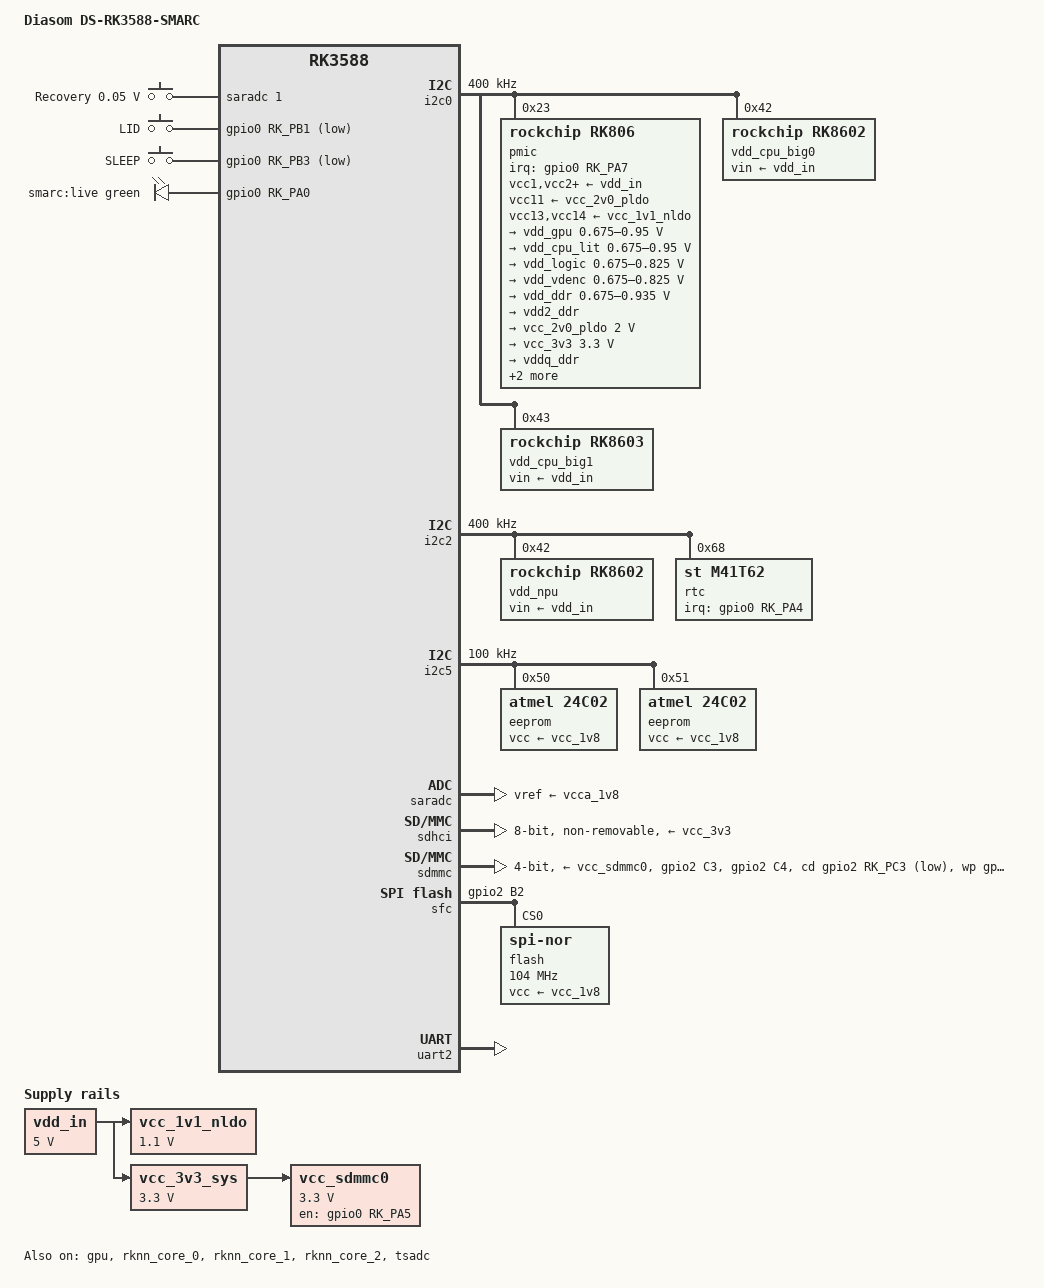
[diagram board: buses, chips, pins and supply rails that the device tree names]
/* SPDX-License-Identifier: GPL-2.0+ */
/* SPDX-FileCopyrightText: Alexander Shiyan <shc_work@mail.ru> */

/dts-v1/;

#include <arm64/rockchip/rk8xx.h>
#include <arm64/rockchip/rk3588j.dtsi>
#include <dt-bindings/gpio/gpio.h>
#include <dt-bindings/input/input.h>
#include <dt-bindings/leds/common.h>

#include "rk3588.dtsi"

/ {
	model = "Diasom DS-RK3588-SMARC";
	compatible = "diasom,ds-rk3588-smarc",
		     "rockchip,rk3588";
	chassis-type = "embedded";

	aliases {
		mmc0 = &sdhci;
		rtc0 = &rtc;
	};

	chosen: chosen {
		stdout-path = "serial2:1500000n8";

		environment-emmc {
			compatible = "barebox,environment";
			device-path = &sdhci, "partname:env";
			status = "disabled";
		};
	};

	adc-keys-1 {
		compatible = "adc-keys";
		io-channels = <&saradc 1>;
		io-channel-names = "buttons";
		keyup-threshold-microvolt = <1750000>;
		poll-interval = <100>;

		recovery {
			label = "Recovery";
			linux,code = <KEY_VENDOR>;
			press-threshold-microvolt = <50000>;
		};
	};

	gpio-keys {
		pinctrl-names = "default";
		pinctrl-0 = <&keys_pins>;
		compatible = "gpio-keys";

		lid {
			label = "LID";
			linux,code = <SW_LID>;
			linux,input-type = <EV_SW>;
			gpios = <&gpio0 RK_PB1 GPIO_ACTIVE_LOW>;
		};

		sleep {
			label = "SLEEP";
			linux,code = <KEY_SLEEP>;
			linux,input-type = <EV_KEY>;
			gpios = <&gpio0 RK_PB3 GPIO_ACTIVE_LOW>;
		};
	};

	leds: leds {
		compatible = "gpio-leds";
		pinctrl-names = "default";
		pinctrl-0 = <&leds_smarc_pins>;

		led-live {
			label = "smarc:live";
			gpios = <&gpio0 RK_PA0 GPIO_ACTIVE_HIGH>;
			function = LED_FUNCTION_HEARTBEAT;
			color = <LED_COLOR_ID_GREEN>;
			linux,default-trigger = LED_FUNCTION_HEARTBEAT;
			default-state = "off";
			panic-indicator;
		};
	};

	vcc_1v1_nldo: vcc1v1-nldo-regulator {
		compatible = "regulator-fixed";
		regulator-name = "vcc_1v1_nldo";
		regulator-always-on;
		regulator-boot-on;
		regulator-min-microvolt = <1100000>;
		regulator-max-microvolt = <1100000>;
		vin-supply = <&vdd_in>;
	};

	vcc_3v3_sys: vcc-3v3-sys-regulator {
		compatible = "regulator-fixed";
		regulator-name = "vcc_3v3_sys";
		regulator-always-on;
		regulator-boot-on;
		regulator-min-microvolt = <3300000>;
		regulator-max-microvolt = <3300000>;
		vin-supply = <&vdd_in>;
	};

	vcc_sdmmc0: vcc-sdmmc0-regulator {
		pinctrl-names = "default";
		pinctrl-0 = <&sdmmc0_vcc_pins>;
		compatible = "regulator-fixed";
		enable-active-high;
		gpio = <&gpio0 RK_PA5 GPIO_ACTIVE_HIGH>;
		regulator-name = "vcc_sdmmc0";
		regulator-boot-on;
		regulator-min-microvolt = <3300000>;
		regulator-max-microvolt = <3300000>;
		startup-delay-us = <20000>;
		vin-supply = <&vcc_3v3_sys>;
	};

	vdd_in: vcc4v0-sys-regulator {
		compatible = "regulator-fixed";
		regulator-name = "vdd_in";
		regulator-always-on;
		regulator-boot-on;
		regulator-min-microvolt = <5000000>;
		regulator-max-microvolt = <5000000>;
	};
};

&cpu_b0 {
	cpu-supply = <&vdd_cpu_big0>;
};

&cpu_b1 {
	cpu-supply = <&vdd_cpu_big0>;
};

&cpu_b2 {
	cpu-supply = <&vdd_cpu_big1>;
};

&cpu_b3 {
	cpu-supply = <&vdd_cpu_big1>;
};

&cpu_l0 {
	cpu-supply = <&vdd_cpu_lit>;
};

&cpu_l1 {
	cpu-supply = <&vdd_cpu_lit>;
};

&cpu_l2 {
	cpu-supply = <&vdd_cpu_lit>;
};

&cpu_l3 {
	cpu-supply = <&vdd_cpu_lit>;
};

&gpu {
	mali-supply = <&vdd_gpu>;
	sram-supply = <&vdd_gpu>;
	status = "okay";
};

&gpu_opp_table {
	/* Fix wrong frequency 800 MHz => 850 MHz */
	/delete-node/ opp-850000000;

	opp-850000000 {
		opp-hz = /bits/ 64 <850000000>;
		opp-microvolt = <787500 787500 850000>;
	};
};

&i2c0 {
	pinctrl-0 = <&i2c0m2_xfer>;
	clock-frequency = <400000>;
	status = "okay";

	pmic@23 {
		compatible = "rockchip,rk806";
		reg = <0x23>;
		interrupt-parent = <&gpio0>;
		interrupts = <RK_PA7 IRQ_TYPE_LEVEL_LOW>;
		pinctrl-names = "default";
		pinctrl-0 = <
			&pmic_pins &rk806_dvs1_null
			&rk806_dvs2_null &rk806_dvs3_null
		>;
		system-power-controller;
		rockchip,reset-mode = <RK806_RESTART>;

		vcc1-supply = <&vdd_in>;
		vcc2-supply = <&vdd_in>;
		vcc3-supply = <&vdd_in>;
		vcc4-supply = <&vdd_in>;
		vcc5-supply = <&vdd_in>;
		vcc6-supply = <&vdd_in>;
		vcc7-supply = <&vdd_in>;
		vcc8-supply = <&vdd_in>;
		vcc9-supply = <&vdd_in>;
		vcc10-supply = <&vdd_in>;
		vcc11-supply = <&vcc_2v0_pldo>;
		vcc12-supply = <&vdd_in>;
		vcc13-supply = <&vcc_1v1_nldo>;
		vcc14-supply = <&vcc_1v1_nldo>;
		vcca-supply = <&vdd_in>;

		gpio-controller;
		#gpio-cells = <2>;

		rk806_dvs1_null: dvs1-null-pins {
			pins = "gpio_pwrctrl1";
			function = "pin_fun0";
		};

		rk806_dvs2_null: dvs2-null-pins {
			pins = "gpio_pwrctrl2";
			function = "pin_fun0";
		};

		rk806_dvs3_null: dvs3-null-pins {
			pins = "gpio_pwrctrl3";
			function = "pin_fun0";
		};

		regulators {
			vdd_gpu: dcdc-reg1 {
				regulator-name = "vdd_gpu";
				regulator-boot-on;
				regulator-min-microvolt = <675000>;
				regulator-max-microvolt = <950000>;
				regulator-enable-ramp-delay = <400>;
				regulator-ramp-delay = <12500>;

				regulator-state-mem {
					regulator-off-in-suspend;
				};
			};

			vdd_cpu_lit: dcdc-reg2 {
				regulator-name = "vdd_cpu_lit";
				regulator-min-microvolt = <675000>;
				regulator-max-microvolt = <950000>;
				regulator-ramp-delay = <12500>;

				regulator-state-mem {
					regulator-off-in-suspend;
				};
			};

			dcdc-reg3 {
				regulator-name = "vdd_logic";
				regulator-always-on;
				regulator-boot-on;
				regulator-min-microvolt = <675000>;
				regulator-max-microvolt = <825000>;
				regulator-ramp-delay = <12500>;

				regulator-state-mem {
					regulator-off-in-suspend;
					regulator-suspend-microvolt = <750000>;
				};
			};

			dcdc-reg4 {
				regulator-name = "vdd_vdenc";
				regulator-always-on;
				regulator-boot-on;
				regulator-min-microvolt = <675000>;
				regulator-max-microvolt = <825000>;
				regulator-ramp-delay = <12500>;

				regulator-state-mem {
					regulator-off-in-suspend;
				};
			};

			dcdc-reg5 {
				regulator-name = "vdd_ddr";
				regulator-always-on;
				regulator-boot-on;
				regulator-min-microvolt = <675000>;
				regulator-max-microvolt = <935000>;
				regulator-ramp-delay = <12500>;

				regulator-state-mem {
					regulator-off-in-suspend;
					regulator-suspend-microvolt = <850000>;
				};
			};

			dcdc-reg6 {
				regulator-name = "vdd2_ddr";
				regulator-always-on;
				regulator-boot-on;

				regulator-state-mem {
					regulator-on-in-suspend;
				};
			};

			vcc_2v0_pldo: dcdc-reg7 {
				regulator-name = "vdd_2v0_pldo";
				regulator-min-microvolt = <2000000>;
				regulator-max-microvolt = <2000000>;
				regulator-ramp-delay = <12500>;

				regulator-state-mem {
					regulator-on-in-suspend;
					regulator-suspend-microvolt = <2000000>;
				};
			};

			vcc_3v3: dcdc-reg8 {
				regulator-name = "vcc_3v3";
				regulator-always-on;
				regulator-boot-on;
				regulator-min-microvolt = <3300000>;
				regulator-max-microvolt = <3300000>;

				regulator-state-mem {
					regulator-on-in-suspend;
					regulator-suspend-microvolt = <3300000>;
				};
			};

			dcdc-reg9 {
				regulator-name = "vddq_ddr";
				regulator-always-on;
				regulator-boot-on;

				regulator-state-mem {
					regulator-off-in-suspend;
				};
			};

			vcc_1v8: dcdc-reg10 {
				regulator-name = "vcc_1v8";
				regulator-always-on;
				regulator-boot-on;
				regulator-min-microvolt = <1800000>;
				regulator-max-microvolt = <1800000>;

				regulator-state-mem {
					regulator-on-in-suspend;
					regulator-suspend-microvolt = <1800000>;
				};
			};

			vcca_1v8: pldo-reg1 {
				regulator-name = "vcca_1v8";
				regulator-always-on;
				regulator-boot-on;
				regulator-min-microvolt = <1800000>;
				regulator-max-microvolt = <1800000>;

				regulator-state-mem {
					regulator-off-in-suspend;
				};
			};

			vcca_1v8_image: pldo-reg2 {
				regulator-name = "vcca_1v8_image";
				regulator-always-on;
				regulator-boot-on;
				regulator-min-microvolt = <1800000>;
				regulator-max-microvolt = <1800000>;

				regulator-state-mem {
					regulator-off-in-suspend;
					regulator-suspend-microvolt = <1800000>;
				};
			};

			vcca_1v2_image: pldo-reg3 {
				regulator-name = "vcca_1v2_image";
				regulator-always-on;
				regulator-boot-on;
				regulator-min-microvolt = <1200000>;
				regulator-max-microvolt = <1200000>;

				regulator-state-mem {
					regulator-off-in-suspend;
				};
			};

			vcca_3v3: pldo-reg4 {
				regulator-name = "vcca_3v3";
				regulator-always-on;
				regulator-boot-on;
				regulator-min-microvolt = <3300000>;
				regulator-max-microvolt = <3300000>;
				regulator-ramp-delay = <12500>;

				regulator-state-mem {
					regulator-off-in-suspend;
				};
			};

			vccio_sd: pldo-reg5 {
				regulator-name = "vccio_sd";
				regulator-always-on;
				regulator-boot-on;
				regulator-min-microvolt = <1800000>;
				regulator-max-microvolt = <3300000>;
				regulator-ramp-delay = <12500>;

				regulator-state-mem {
					regulator-off-in-suspend;
				};
			};

			pldo-reg6 {
				regulator-name = "vcca_1v8_pldo6";
				regulator-always-on;
				regulator-boot-on;
				regulator-min-microvolt = <1800000>;
				regulator-max-microvolt = <1800000>;

				regulator-state-mem {
					regulator-on-in-suspend;
					regulator-suspend-microvolt = <1800000>;
				};
			};

			vdda_0v75_pmu: nldo-reg1 {
				regulator-name = "vdda_0v75_pmu";
				regulator-always-on;
				regulator-boot-on;
				regulator-min-microvolt = <750000>;
				regulator-max-microvolt = <750000>;

				regulator-state-mem {
					regulator-on-in-suspend;
					regulator-suspend-microvolt = <750000>;
				};
			};

			vdda_ddr_pll: nldo-reg2 {
				regulator-name = "vdda_ddr_pll";
				regulator-always-on;
				regulator-boot-on;
				regulator-min-microvolt = <675000>;
				regulator-max-microvolt = <892500>;

				regulator-state-mem {
					regulator-off-in-suspend;
					regulator-suspend-microvolt = <850000>;
				};
			};

			vdda_0v75_image: nldo-reg3 {
				regulator-name = "vdda_0v75_image";
				regulator-always-on;
				regulator-boot-on;
				regulator-min-microvolt = <750000>;
				regulator-max-microvolt = <750000>;

				regulator-state-mem {
					regulator-off-in-suspend;
				};
			};

			vdda_0v85: nldo-reg4 {
				regulator-name = "vdda_0v85";
				regulator-always-on;
				regulator-boot-on;
				regulator-min-microvolt = <850000>;
				regulator-max-microvolt = <850000>;

				regulator-state-mem {
					regulator-off-in-suspend;
				};
			};

			vdda_0v75: nldo-reg5 {
				regulator-name = "vdda_0v75";
				regulator-always-on;
				regulator-boot-on;
				regulator-min-microvolt = <750000>;
				regulator-max-microvolt = <750000>;

				regulator-state-mem {
					regulator-off-in-suspend;
				};
			};
		};
	};

	vdd_cpu_big0: regulator@42 {
		compatible = "rockchip,rk8602";
		reg = <0x42>;
		fcs,suspend-voltage-selector = <1>;
		regulator-name = "vdd_cpu_big0";
		regulator-boot-on;
		regulator-min-microvolt = <675000>;
		regulator-max-microvolt = <1050000>;
		regulator-ramp-delay = <2300>;
		vin-supply = <&vdd_in>;

		regulator-state-mem {
			regulator-off-in-suspend;
		};
	};

	vdd_cpu_big1: regulator@43 {
		compatible = "rockchip,rk8603", "rockchip,rk8602";
		reg = <0x43>;
		fcs,suspend-voltage-selector = <1>;
		regulator-name = "vdd_cpu_big1";
		regulator-boot-on;
		regulator-min-microvolt = <675000>;
		regulator-max-microvolt = <1050000>;
		regulator-ramp-delay = <2300>;
		vin-supply = <&vdd_in>;

		regulator-state-mem {
			regulator-off-in-suspend;
		};
	};
};

&i2c2 {
	clock-frequency = <400000>;
	status = "okay";

	vdd_npu: regulator@42 {
		compatible = "rockchip,rk8602";
		reg = <0x42>;
		fcs,suspend-voltage-selector = <1>;
		regulator-name = "vdd_npu";
		regulator-min-microvolt = <675000>;
		regulator-max-microvolt = <950000>;
		regulator-ramp-delay = <2300>;
		vin-supply = <&vdd_in>;

		regulator-state-mem {
			regulator-off-in-suspend;
		};
	};

	rtc: rtc@68 {
		pinctrl-names = "default";
		pinctrl-0 = <&rtc_pins>;
		compatible = "st,m41t62";
		reg = <0x68>;
		interrupt-parent = <&gpio0>;
		interrupts = <RK_PA4 IRQ_TYPE_LEVEL_LOW>;
		wakeup-source;

		clock {
			/* Skip registering SQW, used as xin32k */
		};
	};
};

&i2c5 {
	pinctrl-0 = <&i2c5m4_xfer>;
	clock-frequency = <100000>;
	status = "okay";

	/* 24aa025e48 */
	eeprom@50 {
		compatible = "atmel,24c02";
		reg = <0x50>;
		pagesize = <16>;
		vcc-supply = <&vcc_1v8>;

		nvmem-layout {
			compatible = "fixed-layout";
			#address-cells = <1>;
			#size-cells = <1>;

			mac0: mac-address@fa {
				reg = <0xfa 0x06>;
				read-only;
			};
		};
	};

	/* 24aa025e48 */
	eeprom@51 {
		compatible = "atmel,24c02";
		reg = <0x51>;
		pagesize = <16>;
		vcc-supply = <&vcc_1v8>;

		nvmem-layout {
			compatible = "fixed-layout";
			#address-cells = <1>;
			#size-cells = <1>;

			mac1: mac-address@fa {
				reg = <0xfa 0x06>;
				read-only;
			};
		};
	};
};

&pd_gpu {
	domain-supply = <&vdd_gpu>;
};

&pd_npu {
	domain-supply = <&vdd_npu>;
};

&rknn_core_0 {
	npu-supply = <&vdd_npu>;
	sram-supply = <&vdd_npu>;
	status = "okay";
};

&rknn_core_1 {
	npu-supply = <&vdd_npu>;
	sram-supply = <&vdd_npu>;
	status = "okay";
};

&rknn_core_2 {
	npu-supply = <&vdd_npu>;
	sram-supply = <&vdd_npu>;
	status = "okay";
};

&rknn_mmu_0 {
	status = "okay";
};

&rknn_mmu_1 {
	status = "okay";
};

&rknn_mmu_2 {
	status = "okay";
};

&saradc {
	vref-supply = <&vcca_1v8>;
	status = "okay";
};

&sdhci {
	bus-width = <8>;
	cap-mmc-hw-reset;
	mmc-hs400-1_8v;
	mmc-hs400-enhanced-strobe;
	non-removable;
	no-sd;
	no-sdio;
	vmmc-supply = <&vcc_3v3>;
	vqmmc-supply = <&vcc_1v8>;
	status = "okay";
};

&sdmmc {
	pinctrl-0 = <
		&sdmmc_clk &sdmmc_cmd &sdmmc_bus4
		&sdmmc0_cd_pins &sdmmc0_wp_pins
	>;
	bus-width = <4>;
	cap-mmc-highspeed;
	cap-sd-highspeed;
	sd-uhs-sdr104;
	max-frequency = <150000000>;
	cd-gpios = <&gpio2 RK_PC3 GPIO_ACTIVE_LOW>;
	wp-gpios = <&gpio2 RK_PC4 GPIO_ACTIVE_HIGH>;
	vmmc-supply = <&vcc_sdmmc0>;
	vqmmc-supply = <&vccio_sd>;
};

&sfc {
	pinctrl-names = "default";
	pinctrl-0 = <&fspim1_pins &fspim1_cs1 &fspi_rst_pins>;
	status = "okay";

	flash@0 {
		compatible = "jedec,spi-nor";
		reg = <0>;
		spi-max-frequency = <104000000>;
		spi-rx-bus-width = <4>;
		spi-tx-bus-width = <1>;
		vcc-supply = <&vcc_1v8>;
	};
};

&spi3 {
	pinctrl-0 = <&spi3m0_pins &spi3m0_cs0 &spi3m0_cs1>;
	num-cs = <2>;
};

&tsadc {
	rockchip,hw-tshut-mode = <1>;
	status = "okay";
};

&uart2 {
	/delete-property/ dmas;
	/delete-property/ dma-names;
	pinctrl-0 = <&uart2m0_xfer>;
	status = "okay";
};

&uart6 {
	pinctrl-0 = <&uart6m1_xfer &uart6m1_ctsn &uart6m1_rtsn>;
};

&uart9 {
	pinctrl-0 = <&uart9m2_xfer &uart9m2_ctsn &uart9m2_rtsn>;
};

&xin32k {
	/* Clock comes from M41T62LC6F */
	pinctrl-names = "default";
	pinctrl-0 = <&clk32k_in>;
	clock-accuracy = <2000>;
};

&pinctrl {
	pinctrl-names = "default";
	pinctrl-0 = <&rstout_pins>;

	keys {
		keys_pins: keys-pins {
			rockchip,pins =
				<0 RK_PB1 RK_FUNC_GPIO &pcfg_pull_up>,		/* LID */
				<0 RK_PB3 RK_FUNC_GPIO &pcfg_pull_up>;		/* SLEEP */
		};
	};

	leds {
		leds_smarc_pins: leds-smarc-pins {
			rockchip,pins =
				<0 RK_PA0 RK_FUNC_GPIO &pcfg_pull_none>;	/* VD2 */
		};
	};

	mmc {
		sdmmc0_vcc_pins: sdmmc0-vcc-pins {
			rockchip,pins =
				<0 RK_PA5 RK_FUNC_GPIO &pcfg_pull_none>;	/* SDMMC_PWR_EN */
		};

		sdmmc0_cd_pins: sdmmc0-cd-pins {
			rockchip,pins =
				<2 RK_PC3 RK_FUNC_GPIO &pcfg_pull_none>;	/* SDMMC_CD */
		};

		sdmmc0_wp_pins: sdmmc0-wp-pins {
			rockchip,pins =
				<2 RK_PC4 RK_FUNC_GPIO &pcfg_pull_none>;	/* SDMMC_WP */
		};
	};

	rst {
		fspi_rst_pins: fspi-rst-pins {
			rockchip,pins =
				<2 RK_PB2 RK_FUNC_GPIO &pcfg_output_high>;	/* ESPI_RESET */
		};

		rstout_pins: rstout-pins {
			rockchip,pins =
				<1 RK_PA4 RK_FUNC_GPIO &pcfg_output_high>;	/* RESET_OUT */
		};
	};

	rtc {
		rtc_pins: rtc-pins {
			rockchip,pins =
				<0 RK_PA4 RK_FUNC_GPIO &pcfg_pull_none>;	/* RTC_INT */
		};
	};
};
